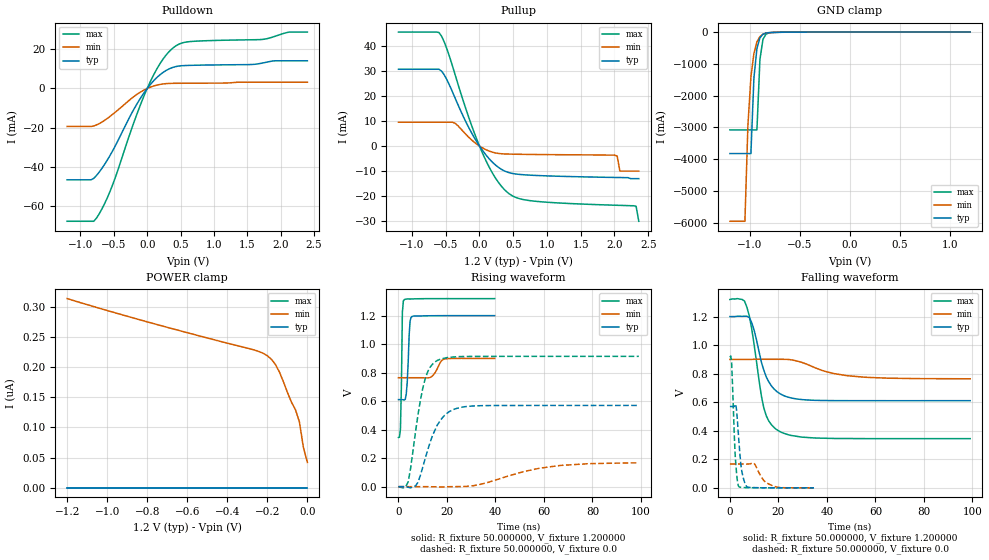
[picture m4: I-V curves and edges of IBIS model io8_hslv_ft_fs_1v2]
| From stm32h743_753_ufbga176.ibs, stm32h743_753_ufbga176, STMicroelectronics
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|   Model io8_hslv_ft_fs_1v2
[Model]  io8_hslv_ft_fs_1v2
Model_type I/O
Polarity   Non-Inverting
Enable   Active-Low
Vinl =   0.360000V
Vinh =   0.840000V
Vmeas =  0.600000V
Cref =   50.000000pF
Rref =   100.000000M
Vref =   0.0V
C_comp   2.994400pF   2.970600pF   3.011800pF
[Temperature Range]   25.000000   0.140000k   -40.000000
[Pullup Reference]   1.200000V   0.900000V   1.320000V
[Pulldown Reference]   0.0V   0.0V   0.0V
[POWER Clamp Reference]   1.200000V   0.900000V   1.320000V
[GND Clamp Reference]   0.0V   0.0V   0.0V
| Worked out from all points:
|   slope of the pulldown table from 0 to 0.18 V, typ, clamps not added: 27 ohm
|   slope of the pullup table from 0 to 0.18 V, typ, clamps not added: 29.5 ohm
|   GND clamp passes 1 mA (typ) near -0.49 V on its own axis
|   rising waveform, R_fixture 50.000000, V_fixture 1.200000: 20-80 % time 876ps typ, 2.59ns min, 545ps max; typ from 0.611 V to 1.2 V
|   rising waveform, R_fixture 50.000000, V_fixture 0.0: 20-80 % time 7.32ns typ, 22.4ns min, 5.2ns max; typ from 0 V to 0.57 V
|   falling waveform, R_fixture 50.000000, V_fixture 1.200000: 20-80 % time 6.26ns typ, 15.6ns min, 5.47ns max; typ from 1.2 V to 0.611 V
|   falling waveform, R_fixture 50.000000, V_fixture 0.0: 20-80 % time 1.78ns typ, 4.07ns min, 1.31ns max; typ from 0.57 V to 0 V
[Pulldown]
|Voltage   I(typ)   I(min)   I(max)
-1.2V     -46.68mA   -19.41mA   -67.88mA
-800mV    -45.91mA   -19.16mA   -67.88mA
-720mV    -42.8mA    -17.98mA   -64.13mA
-520mV    -32.02mA   -13.28mA   -49.45mA
-200mV    -10.65mA   -4.15mA    -17.41mA
0V        0A         -1pA       0A
200mV     7.248mA    2.118mA    13.13mA
400mV     10.95mA    2.646mA    21.07mA
600mV     11.77mA    2.694mA    23.82mA
1.72V     12.96mA    3.219mA    25.06mA
2.12V     14.16mA    3.219mA    28.79mA
2.4V      14.16mA    3.219mA    28.86mA
[Pullup]
|Voltage   I(typ)   I(min)   I(max)
-1.2V     30.63mA    9.517mA    45.47mA
-560mV    29.85mA    9.517mA    43.72mA
-360mV    19.08mA    9.058mA    28.36mA
40mV      -1.569mA   -666.5uA   -2.542mA
240mV     -7.626mA   -2.753mA   -12.9mA
440mV     -10.63mA   -3.205mA   -19.03mA
800mV     -11.68mA   -3.357mA   -21.93mA
2V        -12.52mA   -3.6mA     -23.59mA
2.04V     -12.54mA   -4mA       -23.62mA
2.08V     -12.55mA   -10mA      -23.66mA
2.32V     -13mA      -10mA      -24mA
2.36V     -13mA      -10mA      -30mA
[GND_clamp]
|Voltage   I(typ)   I(min)   I(max)
-1.2V     -3.825A    -5.957A    -3.08A
-1.05V    -3.825A    -5.957A    -3.08A
-1.02V    -3.825A    -2.931A    -3.08A
-990mV    -3.825A    -1.42A     -3.08A
-960mV    -1.441A    -668.9mA   -3.08A
-930mV    -519mA     -309.3mA   -3.08A
-900mV    -183.4mA   -143.6mA   -867.5mA
-870mV    -69.4mA    -69.06mA   -230.1mA
-840mV    -31.29mA   -35.69mA   -66.87mA
-810mV    -17.92mA   -20.54mA   -26.67mA
-750mV    -9.804mA   -9.737mA   -11.79mA
1.2V      0A         -18.82nA   0A
[POWER_clamp]
|Voltage   I(typ)   I(min)   I(max)
-1.2V     0A         313.5nA    0A
-780mV    0A         273.2nA    0A
-280mV    0A         229.7nA    0A
-200mV    0A         218.8nA    0A
-180mV    0A         213.1nA    0A
-160mV    0A         204.5nA    0A
-140mV    0A         192.1nA    0A
-80mV     0A         142.2nA    0A
-60mV     0A         129.7nA    0A
-40mV     0A         109.6nA    0A
-20mV     0A         67.07nA    0A
0V        0A         42.01nA    0A
[Ramp]
| variable   typ   min   max
dV/dt_r  0.34182/7.30012n   99.48533m/22.33759n 0.54869/5.14346n
dV/dt_f  0.35359/6.19263n   81.46800m/15.62751n 0.58421/5.40495n
R_load = 50.000000
[Rising Waveform]
R_fixture= 50.000000
V_fixture= 1.200000
V_fixture_min= 0.900000
V_fixture_max= 1.320000
|time   V(typ)   V(min)   V(max)
0s        610.7mV    764.2mV    344.8mV
800.8ps   610.7mV    764.2mV    403.8mV
1.201ns   610.8mV    764.2mV    707.8mV
1.602ns   610.4mV    764.2mV    1.223V
2.002ns   609mV      764.2mV    1.303V
3.203ns   650.3mV    764.2mV    1.316V
4.404ns   1.067V     764.2mV    1.317V
5.205ns   1.188V     764.2mV    1.317V
19.22ns   1.2V       897mV      1.319V
39.64ns   1.2V       900mV      1.319V
[Rising Waveform]
R_fixture= 50.000000
V_fixture= 0.0
V_fixture_min= 0.0
V_fixture_max= 0.0
|time   V(typ)   V(min)   V(max)
0s        311.1nV    1.117uV    98.09uV
4.004ns   -4.572mV   1.105uV    33.73mV
7.007ns   4.714mV    -460.7nV   382.5mV
10.01ns   136.2mV    38.33uV    690.2mV
12.01ns   255.4mV    -96.42uV   804.9mV
16.02ns   432.8mV    -1.571mV   885.5mV
21.02ns   527.6mV    -459.3uV   907.5mV
27.03ns   560.4mV    994.8uV    913.1mV
59.06ns   569.7mV    131.4mV    914.3mV
99.1ns    569.8mV    166.8mV    914.3mV
[Falling Waveform]
R_fixture= 50.000000
V_fixture= 1.200000
V_fixture_min= 0.900000
V_fixture_max= 1.320000
|time   V(typ)   V(min)   V(max)
0s        1.2V       900mV      1.319V
5.005ns   1.202V     900mV      1.32V
7.007ns   1.202V     900mV      1.266V
10.01ns   1.103V     900.8mV    1.002V
14.01ns   823.2mV    900.9mV    558.2mV
16.02ns   743.8mV    900.7mV    469.2mV
20.02ns   666.5mV    900.8mV    400.3mV
28.03ns   621.6mV    887mV      359.8mV
49.05ns   610.8mV    784.7mV    345.5mV
99.1ns    610.7mV    764.2mV    344.8mV
[Falling Waveform]
R_fixture= 50.000000
V_fixture= 0.0
V_fixture_min= 0.0
V_fixture_max= 0.0
|time   V(typ)   V(min)   V(max)
0s        569.8mV    166.8mV    914.3mV
700.7ps   569.8mV    166.8mV    882.1mV
1.752ns   570.1mV    166.8mV    396.4mV
2.452ns   585.8mV    166.8mV    161.7mV
3.504ns   375.4mV    166.8mV    13.53mV
4.905ns   117.8mV    166.8mV    2.589mV
7.007ns   7.483mV    166.6mV    1.68mV
9.81ns    1.484mV    172.9mV    868.1uV
17.87ns   224.2uV    13.1mV     263.9uV
34.68ns   311.1nV    1.117uV    98.09uV
